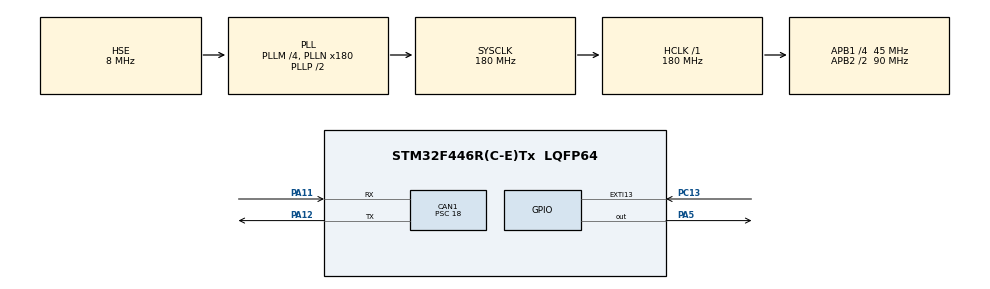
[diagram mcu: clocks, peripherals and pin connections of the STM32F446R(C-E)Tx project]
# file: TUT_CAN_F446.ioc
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CAN1.BS1=CAN_BS1_2TQ
CAN1.BS2=CAN_BS2_2TQ
CAN1.CalculateBaudRate=500000
CAN1.CalculateTimeBit=2000
CAN1.CalculateTimeQuantum=400.0
CAN1.Prescaler=18
Mcu.Family=STM32F4
Mcu.Name=STM32F446R(C-E)Tx
Mcu.Package=LQFP64
NVIC.CAN1_RX0_IRQn=true\:0\:0\:false\:false\:true\:true\:true\:true
NVIC.EXTI15_10_IRQn=true\:0\:0\:false\:false\:true\:true\:true\:true
NVIC.PriorityGroup=NVIC_PRIORITYGROUP_4
PA11.Mode=CAN_Activate
PA11.Signal=CAN1_RX
PA12.Mode=CAN_Activate
PA12.Signal=CAN1_TX
PA5.Signal=GPIO_Output
PC13.Signal=GPXTI13
PH0-OSC_IN.Mode=HSE-External-Oscillator
PH0-OSC_IN.Signal=RCC_OSC_IN
PH1-OSC_OUT.Mode=HSE-External-Oscillator
PH1-OSC_OUT.Signal=RCC_OSC_OUT
ProjectManager.HeapSize=0x200
ProjectManager.StackSize=0x400
ProjectManager.TargetToolchain=MDK-ARM V5.32
RCC.AHBFreq_Value=180000000
RCC.APB1CLKDivider=RCC_HCLK_DIV4
RCC.APB1Freq_Value=45000000
RCC.APB1TimFreq_Value=90000000
RCC.APB2CLKDivider=RCC_HCLK_DIV2
RCC.APB2Freq_Value=90000000
RCC.APB2TimFreq_Value=180000000
RCC.CortexFreq_Value=180000000
RCC.HCLKFreq_Value=180000000
RCC.HSE_VALUE=8000000
RCC.PLLM=4
RCC.PLLN=180
RCC.PLLSourceVirtual=RCC_PLLSOURCE_HSE
RCC.SYSCLKFreq_VALUE=180000000
RCC.SYSCLKSource=RCC_SYSCLKSOURCE_PLLCLK
RCC.USBFreq_Value=180000000
RCC.VCOOutputFreq_Value=360000000
board=custom

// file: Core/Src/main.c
/* USER CODE BEGIN Header */
/**
  ******************************************************************************
  * @file           : main.c
  * @brief          : Main program body
  ******************************************************************************
  * @attention
  *
  * <h2><center>&copy; Copyright (c) 2021 STMicroelectronics.
  * All rights reserved.</center></h2>
  *
  * This software component is licensed by ST under BSD 3-Clause license,
  * the "License"; You may not use this file except in compliance with the
  * License. You may obtain a copy of the License at:
  *                        opensource.org/licenses/BSD-3-Clause
  *
  ******************************************************************************
  */
/* USER CODE END Header */
#include "main.h"

CAN_HandleTypeDef hcan1;

void SystemClock_Config(void);
static void MX_GPIO_Init(void);
static void MX_CAN1_Init(void);

/* USER CODE BEGIN 0 */

CAN_TxHeaderTypeDef TxHeader;
CAN_RxHeaderTypeDef RxHeader;

uint8_t TxData[8];
uint8_t RxData[8];

uint32_t TxMailbox;

int datacheck = 0;

void HAL_GPIO_EXTI_Callback(uint16_t GPIO_Pin)
{
	if (GPIO_Pin == GPIO_PIN_13)
	{
		TxData[0] = 100;   // ms Delay
		TxData[1] = 40;    // loop rep

		HAL_CAN_AddTxMessage(&hcan1, &TxHeader, TxData, &TxMailbox);
	}
}

void HAL_CAN_RxFifo0MsgPendingCallback(CAN_HandleTypeDef *hcan)
{
	HAL_CAN_GetRxMessage(hcan, CAN_RX_FIFO0, &RxHeader, RxData);
	if (RxHeader.StdId == 0x001)
	{
		datacheck = 1;
	}
}

/* USER CODE END 0 */

int main(void)
{

  /* MCU Configuration--------------------------------------------------------*/

  /* Reset of all peripherals, Initializes the Flash interface and the Systick. */
  HAL_Init();

  /* Configure the system clock */
  SystemClock_Config();

  /* Initialize all configured peripherals */
  MX_GPIO_Init();
  MX_CAN1_Init();
  /* USER CODE BEGIN 2 */

  HAL_CAN_Start(&hcan1);

  // Activate the notification
  HAL_CAN_ActivateNotification(&hcan1, CAN_IT_RX_FIFO0_MSG_PENDING);

  TxHeader.DLC = 2;  // data length
  TxHeader.IDE = CAN_ID_STD;
  TxHeader.RTR = CAN_RTR_DATA;
  TxHeader.StdId = 0x002;  // ID

	HAL_CAN_AddTxMessage(&hcan1, &TxHeader, TxData, &TxMailbox);

  /* USER CODE END 2 */

  /* Infinite loop */
  while (1)
  {

    /* USER CODE BEGIN 3 */

//	  if (datacheck)
//	  {
//		  // blink the LED
//		  for (int i=0; i<RxData[1]; i++)
//		  {
//			  HAL_GPIO_TogglePin(GPIOA, GPIO_PIN_5);
//			  HAL_Delay(RxData[0]);
//		  }

//		  datacheck = 0;

//			TxData[0] = 100;   // ms Delay
//			TxData[1] = 40;    // loop rep

//			HAL_CAN_AddTxMessage(&hcan1, &TxHeader, TxData, &TxMailbox);
//	  }
  }
  /* USER CODE END 3 */
}

void SystemClock_Config(void)
{
  RCC_OscInitTypeDef RCC_OscInitStruct = {0};
  RCC_ClkInitTypeDef RCC_ClkInitStruct = {0};

  /** Configure the main internal regulator output voltage
  */
  __HAL_RCC_PWR_CLK_ENABLE();
  __HAL_PWR_VOLTAGESCALING_CONFIG(PWR_REGULATOR_VOLTAGE_SCALE1);
  /** Initializes the RCC Oscillators according to the specified parameters
  * in the RCC_OscInitTypeDef structure.
  */
  RCC_OscInitStruct.OscillatorType = RCC_OSCILLATORTYPE_HSE;
  RCC_OscInitStruct.HSEState = RCC_HSE_ON;
  RCC_OscInitStruct.PLL.PLLState = RCC_PLL_ON;
  RCC_OscInitStruct.PLL.PLLSource = RCC_PLLSOURCE_HSE;
  RCC_OscInitStruct.PLL.PLLM = 4;
  RCC_OscInitStruct.PLL.PLLN = 180;
  RCC_OscInitStruct.PLL.PLLP = RCC_PLLP_DIV2;
  RCC_OscInitStruct.PLL.PLLQ = 2;
  RCC_OscInitStruct.PLL.PLLR = 2;
  if (HAL_RCC_OscConfig(&RCC_OscInitStruct) != HAL_OK)
  {
    Error_Handler();
  }
  /** Activate the Over-Drive mode
  */
  if (HAL_PWREx_EnableOverDrive() != HAL_OK)
  {
    Error_Handler();
  }
  /** Initializes the CPU, AHB and APB buses clocks
  */
  RCC_ClkInitStruct.ClockType = RCC_CLOCKTYPE_HCLK|RCC_CLOCKTYPE_SYSCLK
                              |RCC_CLOCKTYPE_PCLK1|RCC_CLOCKTYPE_PCLK2;
  RCC_ClkInitStruct.SYSCLKSource = RCC_SYSCLKSOURCE_PLLCLK;
  RCC_ClkInitStruct.AHBCLKDivider = RCC_SYSCLK_DIV1;
  RCC_ClkInitStruct.APB1CLKDivider = RCC_HCLK_DIV4;
  RCC_ClkInitStruct.APB2CLKDivider = RCC_HCLK_DIV2;

  if (HAL_RCC_ClockConfig(&RCC_ClkInitStruct, FLASH_LATENCY_5) != HAL_OK)
  {
    Error_Handler();
  }
}

static void MX_CAN1_Init(void)
{

  hcan1.Instance = CAN1;
  hcan1.Init.Prescaler = 18;
  hcan1.Init.Mode = CAN_MODE_NORMAL;
  hcan1.Init.SyncJumpWidth = CAN_SJW_1TQ;
  hcan1.Init.TimeSeg1 = CAN_BS1_2TQ;
  hcan1.Init.TimeSeg2 = CAN_BS2_2TQ;
  hcan1.Init.TimeTriggeredMode = DISABLE;
  hcan1.Init.AutoBusOff = DISABLE;
  hcan1.Init.AutoWakeUp = DISABLE;
  hcan1.Init.AutoRetransmission = DISABLE;
  hcan1.Init.ReceiveFifoLocked = DISABLE;
  hcan1.Init.TransmitFifoPriority = DISABLE;
  if (HAL_CAN_Init(&hcan1) != HAL_OK)
  {
    Error_Handler();
  }
  /* USER CODE BEGIN CAN1_Init 2 */

  CAN_FilterTypeDef canfilterconfig;

  canfilterconfig.FilterActivation = CAN_FILTER_ENABLE;
  canfilterconfig.FilterBank = 0;  // which filter bank to use from the assigned ones
  canfilterconfig.FilterFIFOAssignment = CAN_FILTER_FIFO0;
  canfilterconfig.FilterIdHigh = 0x001 << 5;
  canfilterconfig.FilterIdLow = 0;
  canfilterconfig.FilterMaskIdHigh = 0x001 << 5;
  canfilterconfig.FilterMaskIdLow = 0;
  canfilterconfig.FilterMode = CAN_FILTERMODE_IDMASK;
  canfilterconfig.FilterScale = CAN_FILTERSCALE_32BIT;
  canfilterconfig.SlaveStartFilterBank = 0;  // doesn't matter in single can controllers

  HAL_CAN_ConfigFilter(&hcan1, &canfilterconfig);

  /* USER CODE END CAN1_Init 2 */

}

static void MX_GPIO_Init(void)
{
  GPIO_InitTypeDef GPIO_InitStruct = {0};

  /* GPIO Ports Clock Enable */
  __HAL_RCC_GPIOC_CLK_ENABLE();
  __HAL_RCC_GPIOH_CLK_ENABLE();
  __HAL_RCC_GPIOA_CLK_ENABLE();

  /*Configure GPIO pin Output Level */
  HAL_GPIO_WritePin(GPIOA, GPIO_PIN_5, GPIO_PIN_RESET);

  /*Configure GPIO pin : PC13 */
  GPIO_InitStruct.Pin = GPIO_PIN_13;
  GPIO_InitStruct.Mode = GPIO_MODE_IT_RISING;
  GPIO_InitStruct.Pull = GPIO_NOPULL;
  HAL_GPIO_Init(GPIOC, &GPIO_InitStruct);

  /*Configure GPIO pin : PA5 */
  GPIO_InitStruct.Pin = GPIO_PIN_5;
  GPIO_InitStruct.Mode = GPIO_MODE_OUTPUT_PP;
  GPIO_InitStruct.Pull = GPIO_NOPULL;
  GPIO_InitStruct.Speed = GPIO_SPEED_FREQ_LOW;
  HAL_GPIO_Init(GPIOA, &GPIO_InitStruct);

  /* EXTI interrupt init*/
  HAL_NVIC_SetPriority(EXTI15_10_IRQn, 0, 0);
  HAL_NVIC_EnableIRQ(EXTI15_10_IRQn);

}

void Error_Handler(void)
{
  __disable_irq();
  while (1)
  {
  }
}

/************************ (C) COPYRIGHT STMicroelectronics *****END OF FILE****/
